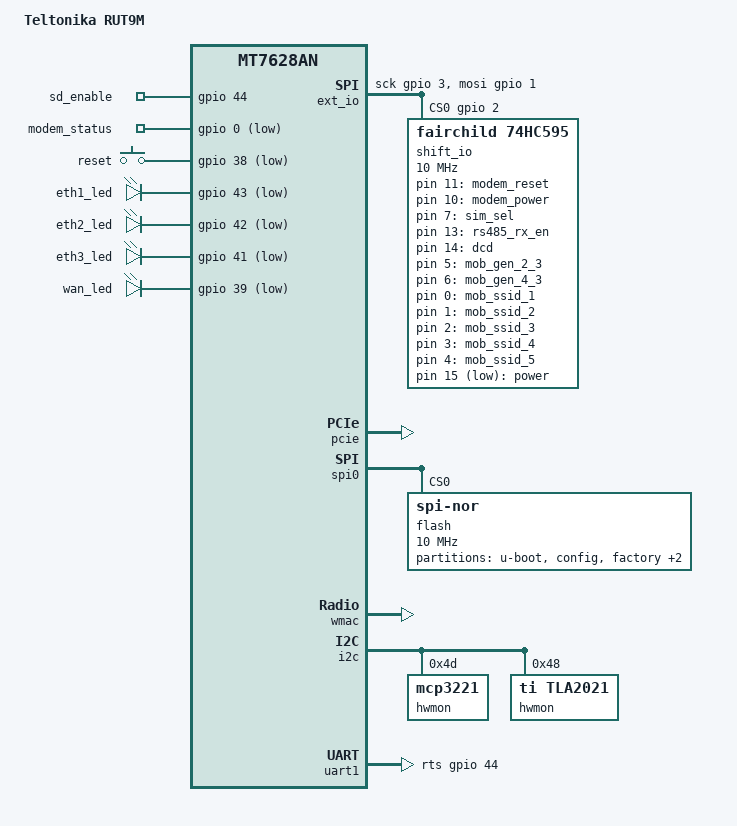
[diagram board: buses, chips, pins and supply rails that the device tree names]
// SPDX-License-Identifier: GPL-2.0-or-later OR MIT
/dts-v1/;

#include <dt-bindings/input/input.h>
#include <dt-bindings/gpio/gpio.h>
#include "mt7628an.dtsi"
#include "platform_name.dtsi"

/ {
	compatible = "teltonika,rut9m", "mediatek,mt7628an-soc";
	model = "Teltonika RUT9M";

	chosen {
		bootargs = "console=ttyS0,115200";
	};

	ext_io {
		compatible = "spi-gpio";
		#address-cells = <1>;
		#size-cells = <0>;

		gpio-sck = <&gpio 3 GPIO_ACTIVE_HIGH>;  // SRCLK
		gpio-mosi = <&gpio 1 GPIO_ACTIVE_HIGH>; // SER
		cs-gpios = <&gpio 2 GPIO_ACTIVE_HIGH>;  // RCLK
		num-chipselects = <1>;

		shift_io: shift_io@0 {
			compatible = "fairchild,74hc595";
			reg = <0>;
			gpio-controller;
			#gpio-cells = <2>;
			registers-number = <2>;
			spi-max-frequency = <10000000>;
		};
	};

	gpio-export {
		compatible = "gpio-export";
		#size-cells = <0>;

		sd_enable {
			gpio-export,name = "sd_enable";
			gpio-export,output = <1>;
			gpios = <&gpio 44 GPIO_ACTIVE_HIGH>;
		};

		gpio_modem_reset {
			gpio-export,name = "modem_reset";
			gpio-export,output = <0>;
			gpios = <&shift_io 11 GPIO_ACTIVE_HIGH>;
		};

		gpio_modem_power {
			gpio-export,name = "modem_power";
			gpio-export,output = <0>;
			gpios = <&shift_io 10 GPIO_ACTIVE_HIGH>;
		};

		gpio_sim_select {
			gpio-export,name = "sim_sel";
			gpio-export,output = <1>;
			gpios = <&shift_io 7 GPIO_ACTIVE_HIGH>;
		};

		gpio_modem_status { // From v5
			gpio-export,name = "modem_status";
			gpio-export,input = <0>;
			gpios = <&gpio 0 GPIO_ACTIVE_LOW>;
		};

		gpio_rs485_rx_en {
			gpio-export,name = "rs485_rx_en";
			gpio-export,output = <0>;
			gpios = <&shift_io 13 GPIO_ACTIVE_HIGH>;
		};

		gpio_dcd {
			gpio-export,name = "dcd";
			gpio-export,output = <0>;
			gpios = <&shift_io 14 GPIO_ACTIVE_HIGH>;
		};
	};

	keys {
		compatible = "gpio-keys";

		reset {
			label = "reset";
			linux,code = <KEY_RESTART>;
			gpios = <&gpio 38 GPIO_ACTIVE_LOW>;
			debounce-interval = <60>;
		};
	};

	leds {
		compatible = "gpio-leds";

		eth1_led {
			label = "eth1_led";
			gpios = <&gpio 43 GPIO_ACTIVE_LOW>;
		};

		eth2_led {
			label = "eth2_led";
			gpios = <&gpio 42 GPIO_ACTIVE_LOW>;
		};

		eth3_led {
			label = "eth3_led";
			gpios = <&gpio 41 GPIO_ACTIVE_LOW>;
		};

		wan_led {
			label = "wan_led";
			gpios = <&gpio 39 GPIO_ACTIVE_LOW>;
		};

		led_gen_2_3 {
			label = "mob_gen_2_3";
			gpios = <&shift_io 5 GPIO_ACTIVE_HIGH>;
		};

		led_gen_4_3 {
			label = "mob_gen_4_3";
			gpios = <&shift_io 6 GPIO_ACTIVE_HIGH>;
		};

		led_ssid_1 {
			label = "mob_ssid_1";
			gpios = <&shift_io 0 GPIO_ACTIVE_HIGH>;
			linux,default-trigger = "timer";
		};

		led_ssid_2 {
			label = "mob_ssid_2";
			gpios = <&shift_io 1 GPIO_ACTIVE_HIGH>;
			linux,default-trigger = "timer";
		};

		led_ssid_3 {
			label = "mob_ssid_3";
			gpios = <&shift_io 2 GPIO_ACTIVE_HIGH>;
			linux,default-trigger = "timer";
		};

		led_ssid_4 {
			label = "mob_ssid_4";
			gpios = <&shift_io 3 GPIO_ACTIVE_HIGH>;
			linux,default-trigger = "timer";
		};

		led_ssid_5 {
			label = "mob_ssid_5";
			gpios = <&shift_io 4 GPIO_ACTIVE_HIGH>;
			linux,default-trigger = "timer";
		};

		led_power {
			label = "power";
			gpios = <&shift_io 15 GPIO_ACTIVE_LOW>;
			default-state = "on";
		};
	};

	tlt_gpios { // Modify according to wiki page "DTS syntax with Libgpiod changes"
		gpiochip_info {
			hw_0 {
				hwver = <0>;
				gpiochip_count = <4>;

				gpiochip_0 = <32>; // Built-in
				gpiochip_1 = <32>; // Built-in
				gpiochip_2 = <32>; // Built-in
				gpiochip_3 = <16>; // Shift Register
			};
		};

		ioman {
			GPIO_40 {
				line_name = "GPIO_IN_1";
			};
			GPIO_108 {
				line_name = "GPIO_OUT_1";
			};
			GPIO_11 {
				compatible_model = "RUT956";
				line_name = "GPIO_ISOLATED_INPUT";
			};
			GPIO_37 {
				compatible_model = "RUT956";
				line_name = "GPIO_IN_2";
			};
			GPIO_104 {
				compatible_model = "RUT956";
				line_name = "GPIO_OUT_2";
			};
			GPIO_105 {
				compatible_model = "RUT956";
				line_name = "GPIO_RELAY_CLOSE_1";
			};
		};

		ledman {
			GPIO_43 {
				line_name = "LED_ETH_GREEN_1";
				active_low;
			};
			GPIO_42 {
				line_name = "LED_ETH_GREEN_2";
				active_low;
			};
			GPIO_41 {
				line_name = "LED_ETH_GREEN_3";
				active_low;
			};
			GPIO_39 {
				line_name = "LED_ETH_GREEN_4";
				active_low;
			};
			GPIO_101 {
				line_name = "LED_TECH_GEN_23";
			};
			GPIO_102 {
				line_name = "LED_TECH_GEN_43";
			};
			GPIO_96 {
				line_name = "LED_SSID_1";
			};
			GPIO_97 {
				line_name = "LED_SSID_2";
			};
			GPIO_98 {
				line_name = "LED_SSID_3";
			};
			GPIO_99 {
				line_name = "LED_SSID_4";
			};
			GPIO_100 {
				line_name = "LED_SSID_5";
			};
			GPIO_111 { // Exists in ioman as GPIO_RELAY_OPEN_1, but not used
				compatible_model = "RUT956";
				compatible_versions = <5 99>;
				line_name = "LED_POWER";
				active_low;
			};
		};

		misc {
			GPIO_0 {
				compatible_versions = <5 99>;
				line_name = "GPIO_MODEM_STATUS";
				active_low;
			};
			GPIO_106 {
				line_name = "GPIO_MODEM_POWER_1";
			};
			GPIO_107 {
				line_name = "GPIO_MODEM_RESET_1";
			};
			GPIO_103 {
				line_name = "GPIO_SIM_SELECT";
			};
			GPIO_44 {
				line_name = "GPIO_SD_ENABLE"; // Duplicates as rts, fix in the future
			};
			GPIO_109 {
				line_name = "GPIO_RS458_RX_EN";
			};
			GPIO_110 {
				line_name = "GPIO_DCD";
			};
		};
	};
};

&mnfinfo {
	simpin1 {
		default = "";
	};

	simpin2 {
		default = "";
	};

	sim_count {
		default =  "2";
	};
};

&state_default {
	gpio {
		groups = "i2s", "p4led_an", "p3led_an", "p2led_an", "p1led_an", "p0led_an", "gpio", "wled_an", "perst", "refclk", "spi cs1";
		function = "gpio";
	};
};

&pcie {
	status = "okay";
};

&pcie0 {
	mt76@0,0 {
		reg = <0x0000 0 0 0 0>;
		mediatek,mtd-eeprom = <&factory 0x28000>;
		ieee80211-freq-limit = <5000000 6000000>;
		mtd-mac-address = <&factory 0xf100>;
		mtd-mac-address-increment = <(-1)>;
	};
};

&spi0 {
	status = "okay";

	flash@0 {
		compatible = "jedec,spi-nor";
		reg = <0>;
		spi-max-frequency = <10000000>;

		partitions {
			compatible = "fixed-partitions";
			#address-cells = <1>;
			#size-cells = <1>;

			boot: boot: partition@0 {
				label = "u-boot";
				reg = <0x0 0x20000>;
				read-only;
			};

			config: partition@20000 {
				label = "config";
				reg = <0x020000 0x010000>;
				read-only;
			};

			factory: partition@30000 {
				label = "factory";
				reg = <0x030000 0x030000>;
				read-only;
			};

			partition@60000 {
				compatible = "denx,uimage";
				label = "firmware";
				reg = <0x060000 0xf10000>;
			};

			partition@f70000 {
				label = "event-log";
				reg = <0xf70000 0x90000>;
			};
		};
	};
};

&wmac {
	status = "okay";
	mtd-mac-address = <&config 0x0>;
	mtd-mac-address-increment = <2>;
	mediatek,mtd-eeprom = <&factory 0x20000>;
};

&ethernet {
	mtd-mac-address = <&config 0x0>;
};

&esw {
	mediatek,portmap = <0x2f>;
};

&i2c {
	status = "okay";
	hwmon@0x4d {
		compatible = "mcp3221";
		reg = <0x4d>;
		reference-voltage-microvolt = <3300000>;
	};

	hwmon@0x48 {
		compatible = "ti,tla2021";
		reg = <0x48>;
	};
};

&uart1 {
	linux,rs485-enabled-at-boot-time;
	rs485-rts-delay = <0 0>;
	rs485-rx-during-tx;
	rts-gpios = <&gpio 44 GPIO_ACTIVE_HIGH>;
	status = "okay";
};
